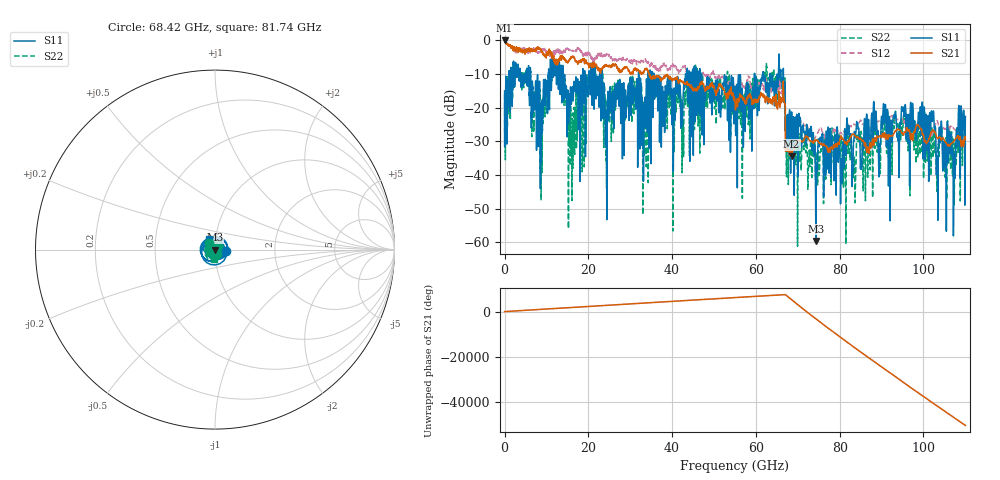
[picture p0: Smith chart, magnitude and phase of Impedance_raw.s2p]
#  HZ  S  RI  R  50.00
! Rohde & Schwarz ZVA67 4Ports - Version 4.11 - 1305.7002k04 SN: 101032
! Date: 2026-02-18 15:44:59
! Measurements: S11 S21 S12 S22
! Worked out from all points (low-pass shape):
!   5500 points, 20 MHz to 110 GHz, reference 50 ohm
!   highest |S21| = -0.06 dB at 20 MHz (marker M1); lowest = -34.4 dB at 68.5 GHz (marker M2)
!   |S21| within 3 dB of the highest: start of sweep to 2.137 GHz; 7.464 GHz to 8.717 GHz (1.253 GHz wide, 15.5 % of centre)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
!   lowest |S11| = -59.6 dB at 74.3 GHz (marker M3), VSWR 1.00, Z = 49.9 - j0.0806 ohm
!   |S11| at or under -10 dB: 23.35 GHz to 31.97 GHz (8.619 GHz wide, 31.2 % of centre); 46.99 GHz to 59.65 GHz (12.66 GHz wide, 23.7 % of centre); 66.57 GHz to end of sweep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
!   |S22| runs from -61.1 to -6.9 dB; largest |S21 - S12| = 1.9
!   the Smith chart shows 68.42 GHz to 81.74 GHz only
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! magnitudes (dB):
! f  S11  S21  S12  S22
! 20 MHz  -15.0  -0.1  -0.5  -16.0
! 5.22 GHz  -10.6  -3.0  -3.5  -10.0
! 8.66 GHz  -19.1  -2.6  -3.3  -25.7
! 12.22 GHz  -5.7  -6.5  -3.4  -8.0
! 15.78 GHz  -15.2  -5.3  -3.1  -20.6
! 18.36 GHz  -15.1  -5.8  -3.4  -15.9
! 20.82 GHz  -8.8  -7.8  -5.6  -8.2
! 24.4 GHz  -53.3  -7.5  -4.0  -25.2
! 30.58 GHz  -12.3  -10.0  -6.6  -10.6
! 33.4 GHz  -21.5  -9.0  -6.0  -34.2
! 36.68 GHz  -14.8  -10.6  -8.6  -12.6
! 40.46 GHz  -14.2  -11.3  -7.9  -31.8
! 45.54 GHz  -18.3  -14.6  -10.3  -7.4
! 55.02 GHz  -14.0  -18.7  -14.6  -17.1
! 65.88 GHz  -9.0  -17.2  -14.4  -11.4
! 68.5 GHz  -21.4  -34.4  -27.3  -25.7
! 73.34 GHz  -29.7  -30.2  -28.7  -40.7
! 74.3 GHz  -59.6  -29.6  -28.5  -47.3
! 91.68 GHz  -31.5  -28.0  -22.9  -30.9
! 101.9 GHz  -21.0  -27.2  -28.7  -25.8
! 107.2 GHz  -38.7  -30.1  -26.2  -32.8
! 110 GHz  -22.6  -29.5  -30.3  -30.6
